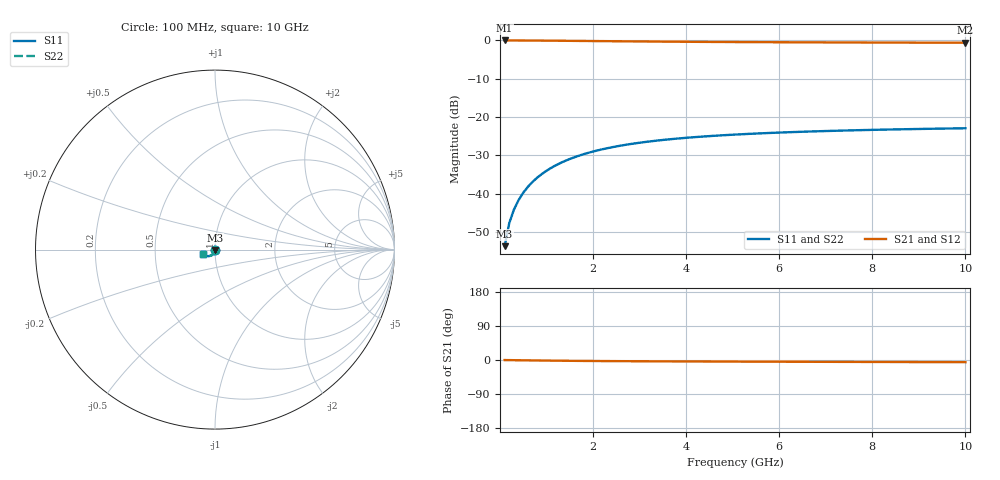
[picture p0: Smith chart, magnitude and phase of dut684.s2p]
! Touchstone file exported from HFSS 2024.1.0
!  File:  C:/UserFiles/LocalFiles/RDL_TSV_Batchsim/temp_TSV1_684_1779795568.aedt
!  Generated:  07:45:29 PM May 26, 2026
!  Design:  TSV1
!  Project:  temp_TSV1_684_1779795568
!  Setup:  Setup1
!  Solution:  Sweep
! Variables:
!  dtsv = 14.79um
!  hbump = 3um
!  htsv = 87um
!  lrdl = 252.1521522um
!  p = 40
!  p1 = 48.77um
!  t = 500um
!  trdl = 3um
!  wrdl = 24.89489489um
# GHz S MA R 50.000000
! Terminal data exported
! Port[1] = TSV22_T1
! Port[2] = TSV22_T2
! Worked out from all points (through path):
!   100 points, 100 MHz to 10 GHz, reference 50 ohm
!   highest |S21| = 0.00 dB at 100 MHz (marker M1); lowest = -0.6 dB at 10 GHz (marker M2)
!   lowest |S11| = -53.7 dB at 100 MHz (marker M3), VSWR 1.00, Z = 50 - j0.207 ohm
!   |S11| at or under -10 dB: start of sweep to end of sweep
!   |S22| runs from -53.7 to -22.9 dB; largest |S21 - S12| = 7.2e-15
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0.1  0.002074 -89.3  0.9998 -0.2  0.9998 -0.2  0.002074 -89.3
! Gamma 0 0 0 0
! Port Impedance 50 0 50 0
0.2  0.004148 -92.0  0.9996 -0.3  0.9996 -0.3  0.004148 -92.0
0.3  0.006219 -94.1  0.9993 -0.5  0.9993 -0.5  0.006219 -94.1
0.4  0.008277 -95.9  0.9989 -0.6  0.9989 -0.6  0.008277 -95.9
0.5  0.01031 -97.7  0.9983 -0.8  0.9983 -0.8  0.01031 -97.7
0.6  0.01232 -99.5  0.9977 -0.9  0.9977 -0.9  0.01232 -99.5
0.7  0.01429 -101.2  0.9969 -1.1  0.9969 -1.1  0.01429 -101.2
0.8  0.01623 -102.9  0.9961 -1.2  0.9961 -1.2  0.01623 -102.9
0.9  0.01812 -104.5  0.9952 -1.4  0.9952 -1.4  0.01812 -104.5
1.1  0.02176 -107.7  0.9932 -1.6  0.9932 -1.6  0.02176 -107.7
1.4  0.02685 -112.1  0.9898 -2.0  0.9898 -2.0  0.02685 -112.1
1.6  0.02997 -114.8  0.9874 -2.2  0.9874 -2.2  0.02997 -114.8
1.8  0.03288 -117.4  0.9849 -2.4  0.9849 -2.4  0.03288 -117.4
2.1  0.03685 -121.0  0.9812 -2.7  0.9812 -2.7  0.03685 -121.0
2.5  0.04148 -125.3  0.9763 -3.0  0.9763 -3.0  0.04148 -125.3
2.9  0.04544 -129.1  0.9718 -3.3  0.9718 -3.3  0.04544 -129.1
3.4  0.04961 -133.2  0.9666 -3.5  0.9666 -3.5  0.04961 -133.2
4.2  0.0549 -138.6  0.9595 -3.9  0.9595 -3.9  0.0549 -138.6
5.1  0.05941 -143.4  0.953 -4.2  0.953 -4.2  0.05941 -143.4
6.7  0.06503 -149.8  0.9445 -4.7  0.9445 -4.7  0.06503 -149.8
8.4  0.06898 -154.7  0.9383 -5.3  0.9383 -5.3  0.06898 -154.7
10  0.07155 -158.3  0.9342 -5.8  0.9342 -5.8  0.07155 -158.3
